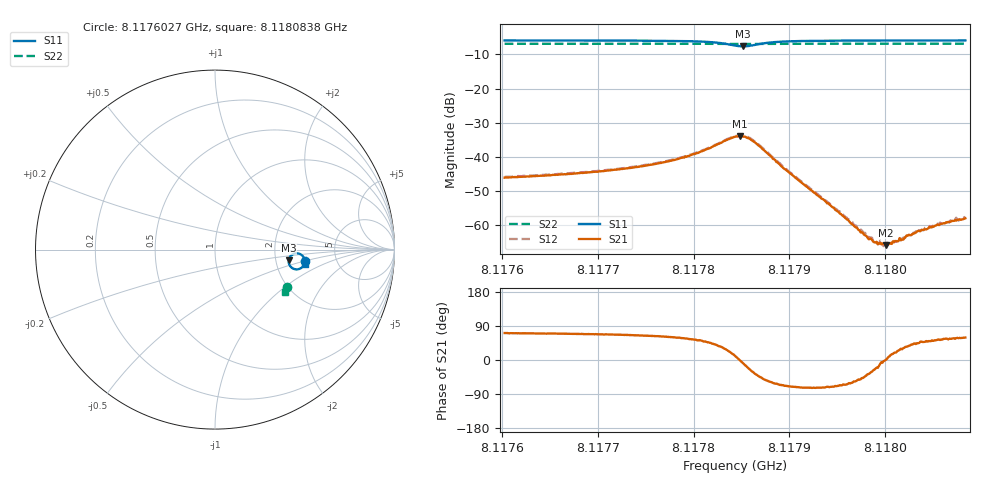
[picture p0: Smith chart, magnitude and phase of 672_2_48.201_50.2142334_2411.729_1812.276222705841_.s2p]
#  HZ  S  RI  R  50.00
! Rohde & Schwarz Vector Network Analyzer
! Rohde-Schwarz,ZNB20-2Port,1311601062101988,3.16
! Created: UTC 3/20/2024, 12:06:10 PM
! freq[Hz]  re:S11  im:S11  re:S21  im:S21  re:S12  im:S12  re:S22  im:S22
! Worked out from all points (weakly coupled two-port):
!   401 points, 8.1176027 GHz to 8.1180838 GHz, reference 50 ohm
!   highest |S21| = -33.94 dB at 8.1178481 GHz (marker M1); lowest = -65.8 dB at 8.1180009 GHz (marker M2)
!   lowest |S11| = -7.6 dB at 8.1178517 GHz (marker M3), VSWR 2.42, Z = 118 - j17.1 ohm
!   |S11| at or under -10 dB: nowhere
!   |S22| runs from -6.9 to -6.9 dB; largest |S21 - S12| = 0.00078
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8.11760273e9  0.5027 -0.0636  0.00161 0.00471  0.00175 0.00482  0.4022 -0.2079
8.11768332e9  0.5003 -0.0735  0.00211 0.00545  0.00217 0.00555  0.3996 -0.2132
8.11772782e9  0.4978 -0.0807  0.00274 0.00617  0.00279 0.00629  0.3984 -0.2162
8.11776391e9  0.4936 -0.0888  0.00372 0.00718  0.00384 0.00733  0.3968 -0.2185
8.1178036e9  0.4798 -0.1028  0.007 0.009  0.00716 0.00929  0.3948 -0.2214
8.11783006e9  0.4469 -0.1096  0.0138 0.00899  0.0141 0.00915  0.3926 -0.2229
8.11784329e9  0.4176 -0.0901  0.0194 0.0038  0.0197 0.00407  0.3912 -0.2225
8.1178481e9  0.411 -0.0739  0.0201 0.000157  0.0206 0.000311  0.3908 -0.222
8.11785171e9  0.4105 -0.06  0.0196 -0.00292  0.0203 -0.00278  0.3911 -0.2215
8.11785893e9  0.4218 -0.0352  0.0165 -0.00784  0.0172 -0.00798  0.3915 -0.2211
8.11786614e9  0.4418 -0.0227  0.0119 -0.00987  0.0124 -0.0102  0.3923 -0.2211
8.11789381e9  0.487 -0.034  0.00275 -0.00634  0.00276 -0.0066  0.3933 -0.2239
8.11792388e9  0.4975 -0.0506  0.000891 -0.00306  0.000982 -0.00315  0.3926 -0.2264
8.11796357e9  0.5004 -0.0629  0.000516 -0.000962  0.000558 -0.00102  0.3915 -0.2295
8.11798161e9  0.5007 -0.0668  0.000522 -0.000403  0.000497 -0.000459  0.3907 -0.2306
8.11799003e9  0.5008 -0.0685  0.000518 -0.000215  0.000552 -0.000224  0.3906 -0.2313
8.11800086e9  0.5008 -0.0703  0.000515 8.63e-06  0.000548 -1.28e-05  0.3901 -0.232
8.11800447e9  0.5007 -0.071  0.000532 8.85e-05  0.000566 8.67e-05  0.3898 -0.2321
8.1180189e9  0.5007 -0.0732  0.000528 0.000319  0.000552 0.000357  0.3896 -0.2331
8.11803574e9  0.5006 -0.0755  0.000579 0.000585  0.00061 0.000586  0.3888 -0.2344
8.1180634e9  0.5003 -0.0792  0.000607 0.000913  0.000621 0.000889  0.3879 -0.2359
8.11808385e9  0.5001 -0.0814  0.000646 0.00109  0.00066 0.00115  0.3873 -0.2373
